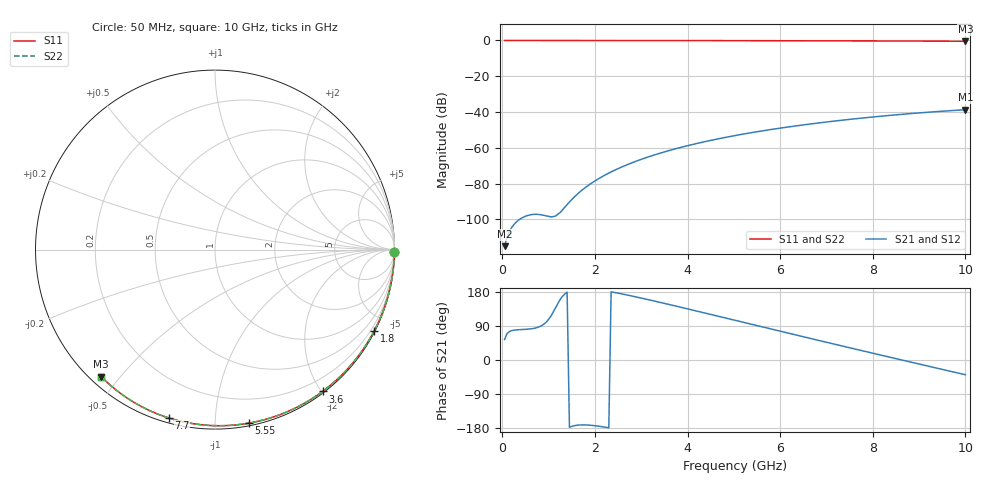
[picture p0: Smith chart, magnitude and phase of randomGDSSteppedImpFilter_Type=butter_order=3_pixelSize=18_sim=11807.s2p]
! freq	dB(S11)	phase(S11)	dB(S12)	phase(S12)
!  dB(S21)	phase(S21)	dB(S22)	phase(S22)
!S-par simulation data
#  GHz  S  DB  R 50
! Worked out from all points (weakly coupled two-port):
!   200 points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, 50 MHz to 10 GHz, reference 50 ohm
!   highest |S21| = -38.70 dB at 10 GHz (marker M1); lowest = -114.9 dB at 50 MHz (marker M2)
!   lowest |S11| = -0.4 dB at 10 GHz (marker M3), VSWR 39.05, Z = 1.54 - j22.3 ohm
!   |S11| at or under -10 dB: nowhere
!   |S22| runs from -0.4 to 0.0 dB; largest |S21 - S12| = 0
!   S11 on the Smith chart (normalised r, x): 50 MHz: open; 1.8 GHz: 0.04, -4.16; 3.6 GHz: 0.02, -2.01; 5.55 GHz: 0.02, -1.21; 7.7 GHz: 0.02, -0.76; 10 GHz: 0.03, -0.45
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0.05  -0.00 -0.8  -114.90 54.1  -114.90 54.1  -0.00 -0.8
0.45  -0.01 -6.9  -98.78 80.6  -98.78 80.6  -0.01 -6.9
0.9  -0.02 -13.6  -97.70 94.8  -97.70 94.8  -0.02 -13.6
1.75  -0.03 -26.3  -83.01 -171.2  -83.01 -171.2  -0.03 -26.3
1.8  -0.03 -27.0  -82.01 -171.4  -82.01 -171.4  -0.03 -27.0
1.9  -0.04 -28.5  -80.16 -172.1  -80.16 -172.1  -0.04 -28.5
2.25  -0.04 -33.6  -74.74 -177.9  -74.74 -177.9  -0.04 -33.6
2.45  -0.05 -36.5  -72.18 177.6  -72.18 177.6  -0.05 -36.5
2.65  -0.05 -39.4  -69.89 172.7  -69.89 172.7  -0.05 -39.4
3  -0.06 -44.4  -66.41 163.5  -66.41 163.5  -0.06 -44.4
3.4  -0.07 -50.0  -63.01 152.3  -63.01 152.3  -0.07 -50.0
3.6  -0.07 -52.8  -61.50 146.6  -61.50 146.6  -0.07 -52.8
3.9  -0.08 -57.0  -59.43 137.9  -59.43 137.9  -0.08 -57.0
4.3  -0.09 -62.4  -56.95 126.2  -56.95 126.2  -0.09 -62.4
5.05  -0.11 -72.4  -53.00 104.0  -53.00 104.0  -0.11 -72.4
5.55  -0.13 -78.9  -50.77 89.2  -50.77 89.2  -0.13 -78.9
6.1  -0.15 -85.9  -48.59 73.0  -48.59 73.0  -0.15 -85.9
6.7  -0.18 -93.3  -46.50 55.5  -46.50 55.5  -0.18 -93.3
7.7  -0.24 -105.4  -43.53 26.5  -43.53 26.5  -0.24 -105.4
8.35  -0.29 -113.0  -41.89 7.9  -41.89 7.9  -0.29 -113.0
9.15  -0.36 -122.2  -40.17 -14.9  -40.17 -14.9  -0.36 -122.2
10  -0.44 -131.8  -38.70 -38.9  -38.70 -38.9  -0.44 -131.8
